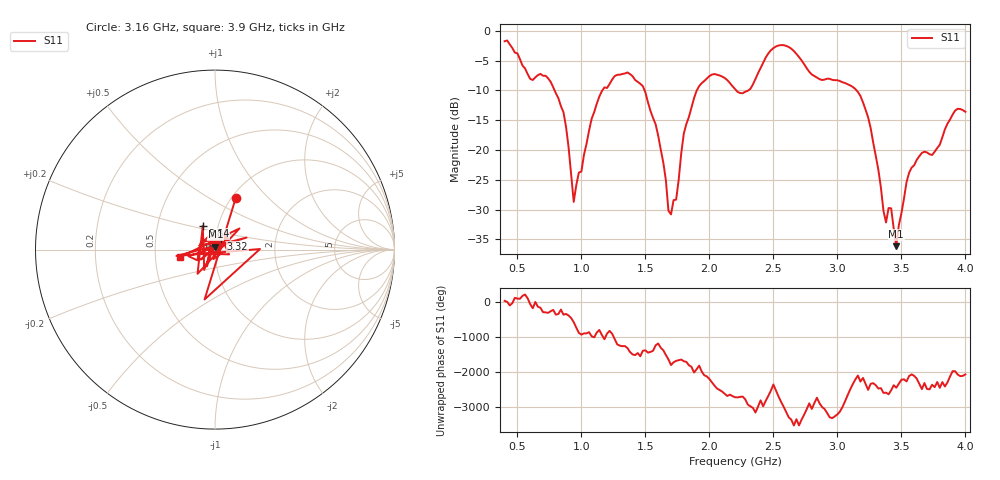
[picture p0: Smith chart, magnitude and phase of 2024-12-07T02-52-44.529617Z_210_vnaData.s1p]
!Created with skrf (http://scikit-rf.org).
# Hz S RI R 50.0
!freq ReS11 ImS11
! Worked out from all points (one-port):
!   181 points, 400 MHz to 4 GHz, reference 50 ohm
!   lowest |S11| = -36.1 dB at 3.46 GHz (marker M1), VSWR 1.03, Z = 50.2 + j1.55 ohm
!   |S11| at or under -10 dB: 790.6 MHz to 1.164 GHz (372.9 MHz wide, 38.2 % of centre); 1.494 GHz to 1.901 GHz (407.7 MHz wide, 24 % of centre); 3.15 GHz to end of sweep (the widest 3 of 4)
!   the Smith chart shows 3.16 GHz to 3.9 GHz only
!   S11 on the Smith chart (normalised r, x): 3.16 GHz: 1.05, +0.66; 3.32 GHz: 1.06, +0.13; 3.84 GHz: 0.84, +0.23; 3.9 GHz: 0.67, -0.06
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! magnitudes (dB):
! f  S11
! 400 MHz  -1.8
! 600 MHz  -8.1
! 740 MHz  -8.0
! 860 MHz  -13.7
! 940 MHz  -28.7
! 1.14 GHz  -11.0
! 1.3 GHz  -7.4
! 1.5 GHz  -10.3
! 1.6 GHz  -17.6
! 1.68 GHz  -30.2
! 1.76 GHz  -25.0
! 1.8 GHz  -17.2
! 1.92 GHz  -9.3
! 2.2 GHz  -9.8
! 2.32 GHz  -9.7
! 2.5 GHz  -2.9
! 2.66 GHz  -3.4
! 3.1 GHz  -9.2
! 3.16 GHz  -10.3
! 3.24 GHz  -14.5
! 3.32 GHz  -23.3
! 3.38 GHz  -32.1
! 3.42 GHz  -29.8
! 3.46 GHz  -36.1
! 3.56 GHz  -23.8
! 3.84 GHz  -16.5
! 3.9 GHz  -14.1
! 4 GHz  -13.6
